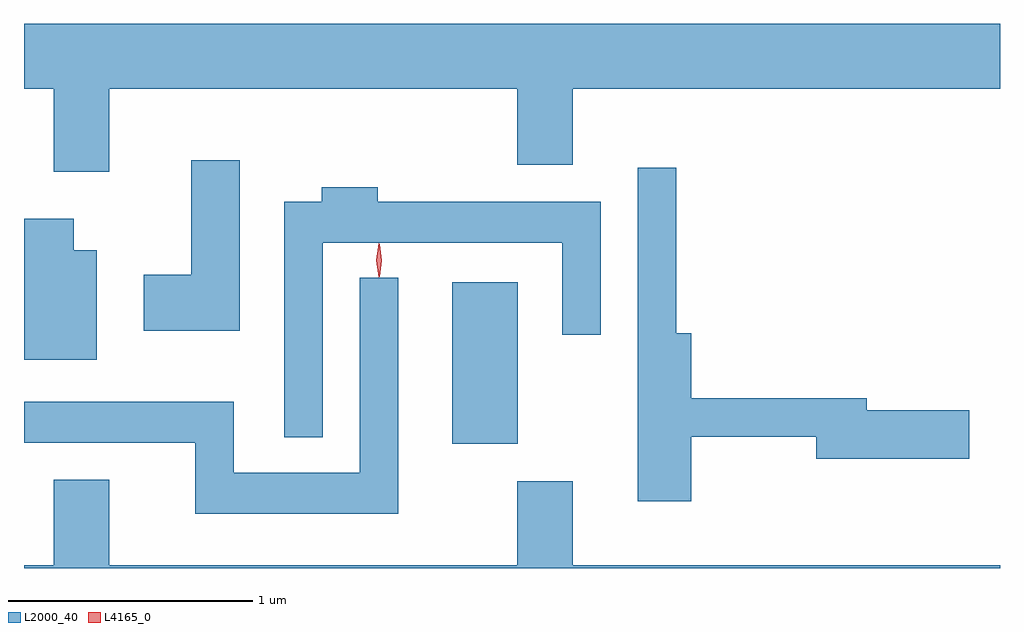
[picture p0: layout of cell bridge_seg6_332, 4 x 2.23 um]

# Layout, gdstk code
import gdstk
lib = gdstk.Library(unit=1e-6, precision=1e-09)
def R(c, l, rs):  # rectangles x0, y0, x1, y1
    for r in rs: c.add(gdstk.rectangle(r[:2], r[2:], *l))
def P(c, l, *ps):  # polygons
    for p in ps: c.add(gdstk.Polygon(p, *l))
L2000_40 = (2000, 40)
L4165_0 = (4165, 0)

bridge_seg6_332 = lib.new_cell('bridge_seg6_332')
R(bridge_seg6_332, L2000_40, [(1306.386,1550.801,1306.654,1551.464)])
P(bridge_seg6_332, L2000_40, [(1304.979,1552.256),(1306.651,1552.256),(1306.651,1551.946),(1306.879,1551.946),(1306.879,1552.256),(1308.63,1552.256),(1308.63,1552.524),(1304.63,1552.524),(1304.63,1552.256),(1304.751,1552.256),(1304.751,1551.916),(1304.979,1551.916)],
  [(1305.514,1551.964),(1305.316,1551.964),(1305.316,1551.494),(1305.121,1551.494),(1305.121,1551.266),(1305.514,1551.266)],
  [(1307.364,1550.831),(1307.876,1550.831),(1307.876,1550.741),(1308.504,1550.741),(1308.504,1550.939),(1308.084,1550.939),(1308.084,1550.989),(1307.364,1550.989),(1307.364,1551.254),(1307.304,1551.254),(1307.304,1551.933),(1307.146,1551.933),(1307.146,1550.566),(1307.364,1550.566)],
  [(1305.854,1551.626),(1306.836,1551.626),(1306.836,1551.248),(1306.994,1551.248),(1306.994,1551.794),(1306.079,1551.794),(1306.079,1551.854),(1305.851,1551.854),(1305.851,1551.794),(1305.696,1551.794),(1305.696,1550.828),(1305.854,1550.828)],
  [(1304.929,1551.594),(1304.834,1551.594),(1304.834,1551.724),(1304.63,1551.724),(1304.63,1551.146),(1304.929,1551.146)],
  [(1306.164,1551.483),(1306.006,1551.483),(1306.006,1550.684),(1305.489,1550.684),(1305.489,1550.974),(1304.63,1550.974),(1304.63,1550.806),(1305.331,1550.806),(1305.331,1550.516),(1306.164,1550.516)],
  [(1308.63,1550.304),(1306.879,1550.304),(1306.879,1550.649),(1306.651,1550.649),(1306.651,1550.304),(1304.979,1550.304),(1304.979,1550.654),(1304.751,1550.654),(1304.751,1550.304),(1304.63,1550.304),(1304.63,1550.291),(1308.63,1550.291)])
P(bridge_seg6_332, L4165_0, [(1306.083,1551.484),(1306.074,1551.553),(1306.083,1551.623),(1306.084,1551.623),(1306.084,1551.623),(1306.094,1551.553),(1306.084,1551.484),(1306.084,1551.484)],
  [(1306.086,1551.487),(1306.086,1551.487),(1306.076,1551.554),(1306.086,1551.62),(1306.086,1551.621),(1306.087,1551.62),(1306.096,1551.554),(1306.087,1551.487)])

lib.write_gds('bridge_seg6_332.gds')
